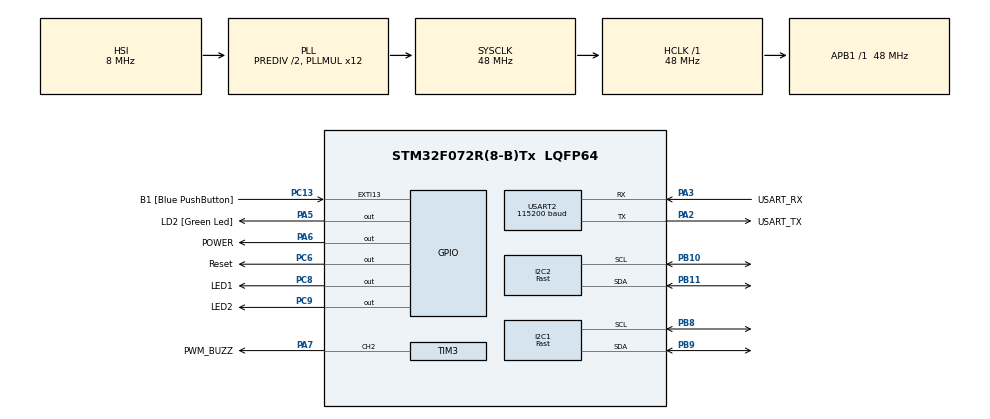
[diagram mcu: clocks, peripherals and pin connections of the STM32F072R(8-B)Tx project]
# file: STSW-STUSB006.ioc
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I2C1.I2C_Speed_Mode=I2C_Fast
I2C1.Timing=0x0000020B
I2C2.I2C_Speed_Mode=I2C_Fast
I2C2.NoStretchMode=I2C_NOSTRETCH_DISABLE
I2C2.Speed=400
I2C2.Timing=0x2010091A
Mcu.Family=STM32F0
Mcu.Name=STM32F072R(8-B)Tx
Mcu.Package=LQFP64
NVIC.EXTI4_15_IRQn=true\:0\:0\:false\:false\:true\:true
NVIC.USART2_IRQn=true\:0\:0\:false\:false\:true\:true
PA13.GPIO_Label=TMS
PA13.Signal=SYS_SWDIO
PA14.GPIO_Label=TCK
PA14.Signal=SYS_SWCLK
PA2.GPIO_Label=USART_TX
PA2.GPIO_Mode=GPIO_MODE_AF_PP
PA2.GPIO_PuPd=GPIO_NOPULL
PA2.GPIO_Speed=GPIO_SPEED_FREQ_LOW
PA2.Mode=Asynchronous
PA2.Signal=USART2_TX
PA3.GPIO_Label=USART_RX
PA3.GPIO_Mode=GPIO_MODE_AF_PP
PA3.GPIO_PuPd=GPIO_NOPULL
PA3.GPIO_Speed=GPIO_SPEED_FREQ_LOW
PA3.Mode=Asynchronous
PA3.Signal=USART2_RX
PA5.GPIO_Label=LD2 [Green Led]
PA5.GPIO_ModeDefaultOutputPP=GPIO_MODE_OUTPUT_PP
PA5.GPIO_PuPd=GPIO_NOPULL
PA5.GPIO_Speed=GPIO_SPEED_FREQ_LOW
PA5.Signal=GPIO_Output
PA6.GPIO_Label=POWER
PA6.Signal=GPIO_Output
PA7.GPIO_Label=PWM_BUZZ
PA7.Signal=S_TIM3_CH2
PB10.Mode=I2C
PB10.Signal=I2C2_SCL
PB11.Mode=I2C
PB11.Signal=I2C2_SDA
PB8.GPIO_FM8=__NULL
PB8.GPIO_PuPdOD=GPIO_PULLUP
PB8.GPIO_Speed=GPIO_SPEED_FREQ_MEDIUM
PB8.Mode=I2C
PB8.Signal=I2C1_SCL
PB9.GPIO_FM9=__NULL
PB9.GPIO_Speed=GPIO_SPEED_FREQ_MEDIUM
PB9.Mode=I2C
PB9.Signal=I2C1_SDA
PC13.GPIO_Label=B1 [Blue PushButton]
PC13.GPIO_ModeDefaultEXTI=GPIO_MODE_IT_FALLING
PC13.GPIO_PuPd=GPIO_NOPULL
PC13.Signal=GPXTI13
PC14-OSC32_IN.Signal=RCC_OSC32_IN
PC15-OSC32_OUT.Signal=RCC_OSC32_OUT
PC6.GPIO_Label=Reset
PC6.Signal=GPIO_Output
PC8.GPIO_Label=LED1
PC8.Signal=GPIO_Output
PC9.GPIO_Label=LED2
PC9.Signal=GPIO_Output
PF0-OSC_IN.Signal=RCC_OSC_IN
PF1-OSC_OUT.Signal=RCC_OSC_OUT
ProjectManager.HeapSize=0x200
ProjectManager.StackSize=0x400
ProjectManager.TargetToolchain=MDK-ARM V5
RCC.AHBFreq_Value=48000000
RCC.APB1Freq_Value=48000000
RCC.APB1TimFreq_Value=48000000
RCC.FLatency-AdvancedSettings=FLASH_LATENCY_1
RCC.HCLKFreq_Value=48000000
RCC.PLLDivider=RCC_PREDIV_DIV2
RCC.PLLMUL=RCC_PLL_MUL12
RCC.SYSCLKFreq_VALUE=48000000
RCC.SYSCLKSource=RCC_SYSCLKSOURCE_PLLCLK
SH.S_TIM3_CH2.0=TIM3_CH2,PWM Generation2 CH2
TIM3.AutoReloadPreload=TIM_AUTORELOAD_PRELOAD_ENABLE
TIM3.Channel-PWM\ Generation2\ CH2=TIM_CHANNEL_2
TIM3.Channel-PWM\ Generation3\ CH3=TIM_CHANNEL_3
TIM3.Channel-PWM\ Generation4\ CH4=TIM_CHANNEL_4
TIM3.OCMode_PWM-PWM\ Generation2\ CH2=TIM_OCMODE_PWM1
TIM3.Period=10
TIM3.Prescaler=48000
TIM3.Pulse-PWM\ Generation2\ CH2=2000
USART2.BaudRate=115200
USART2.VirtualMode-Asynchronous=VM_ASYNC
USART2.WordLength=WORDLENGTH_8B
board=NUCLEO-F072RB

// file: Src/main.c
/**
  ******************************************************************************
  * @file           : main.c
  * @brief          : Main program body
  ******************************************************************************
  ** This notice applies to any and all portions of this file
  * that are not between comment pairs USER CODE BEGIN and
  * USER CODE END. Other portions of this file, whether
  * inserted by the user or by software development tools
  * are owned by their respective copyright owners.
  *
  * COPYRIGHT(c) 2019 STMicroelectronics
  *
  * Redistribution and use in source and binary forms, with or without modification,
  * are permitted provided that the following conditions are met:
  *   1. Redistributions of source code must retain the above copyright notice,
  *      this list of conditions and the following disclaimer.
  *   2. Redistributions in binary form must reproduce the above copyright notice,
  *      this list of conditions and the following disclaimer in the documentation
  *      and/or other materials provided with the distribution.
  *   3. Neither the name of STMicroelectronics nor the names of its contributors
  *      may be used to endorse or promote products derived from this software
  *      without specific prior written permission.
  *
  * THIS SOFTWARE IS PROVIDED BY THE COPYRIGHT HOLDERS AND CONTRIBUTORS "AS IS"
  * AND ANY EXPRESS OR IMPLIED WARRANTIES, INCLUDING, BUT NOT LIMITED TO, THE
  * IMPLIED WARRANTIES OF MERCHANTABILITY AND FITNESS FOR A PARTICULAR PURPOSE ARE
  * DISCLAIMED. IN NO EVENT SHALL THE COPYRIGHT HOLDER OR CONTRIBUTORS BE LIABLE
  * FOR ANY DIRECT, INDIRECT, INCIDENTAL, SPECIAL, EXEMPLARY, OR CONSEQUENTIAL
  * DAMAGES (INCLUDING, BUT NOT LIMITED TO, PROCUREMENT OF SUBSTITUTE GOODS OR
  * SERVICES; LOSS OF USE, DATA, OR PROFITS; OR BUSINESS INTERRUPTION) HOWEVER
  * CAUSED AND ON ANY THEORY OF LIABILITY, WHETHER IN CONTRACT, STRICT LIABILITY,
  * OR TORT (INCLUDING NEGLIGENCE OR OTHERWISE) ARISING IN ANY WAY OUT OF THE USE
  * OF THIS SOFTWARE, EVEN IF ADVISED OF THE POSSIBILITY OF SUCH DAMAGE.
  *
  ******************************************************************************
  */
#include "main.h"
#include "stm32f0xx_hal.h"
#include "i2c.h"
#include "tim.h"
#include "usart.h"
#include "gpio.h"

/* USER CODE BEGIN Includes */
#include "USB_PD_defines.h"
/* USER CODE END Includes */

/* USER CODE BEGIN PV */
/* Private variables ---------------------------------------------------------*/
I2C_HandleTypeDef *hi2c[2];
unsigned int I2cDeviceID_7bit;
unsigned int Address;
unsigned int AddressSize = I2C_MEMADD_SIZE_8BIT;
extern TIM_HandleTypeDef htim3;
//UART_HandleTypeDef huart2;
/* USER CODE END PV */

void SystemClock_Config(void);

/* USER CODE BEGIN PFP */
/* Private function prototypes -----------------------------------------------*/
extern uint8_t nvm_flash(uint8_t Port);
extern uint8_t CUST_EnterWriteMode(uint8_t Port,unsigned char ErasedSector);
extern uint8_t CUST_EnterReadMode(uint8_t Port);
extern uint8_t CUST_ReadSector(uint8_t Port,char SectorNum, unsigned char *SectorData);
extern uint8_t CUST_WriteSector(uint8_t Port,char SectorNum, unsigned char *SectorData);
extern uint8_t CUST_ExitTestMode(uint8_t Port);
FLASHING_STATUS flash_process(void);
volatile uint8_t push_button_Action_Flag[2];
volatile uint8_t temp_count;
/* USER CODE END PFP */

/* USER CODE BEGIN 0 */
extern uint8_t Sector0[8];
extern uint8_t Sector1[8];
extern uint8_t Sector2[8];
extern uint8_t Sector3[8];
extern uint8_t Sector4[8];
FLASHING_STATUS flashing_status;
/* USER CODE END 0 */

int main(void)
{
  /* USER CODE BEGIN 1 */
  uint32_t timeout = 10;
  /* USER CODE END 1 */

  /* MCU Configuration----------------------------------------------------------*/

  /* Reset of all peripherals, Initializes the Flash interface and the Systick. */
  HAL_Init();

  /* Configure the system clock */
  SystemClock_Config();

  /* Initialize all configured peripherals */
  MX_GPIO_Init();
  MX_I2C1_Init();
  MX_I2C2_Init();
  MX_USART2_UART_Init();
  MX_TIM3_Init();
  /* USER CODE BEGIN 2 */
  hi2c[0]= &hi2c1;
  hi2c[1]= &hi2c2;
  I2cDeviceID_7bit = 0x28;
  AddressSize = I2C_MEMADD_SIZE_8BIT;
  // set GPIO for Led activation (red and orange ON)

  flashing_status = Unplug;//Wait_Key_Press;
  push_button_Action_Flag[0] = 0;
  push_button_Action_Flag[1] = 1;
  temp_count = 0;
  /* USER CODE END 2 */

  /* Infinite loop */
  /* USER CODE BEGIN WHILE */
  while (1)
  {
    if ((push_button_Action_Flag[0] == 1  ) && (push_button_Action_Flag[1] == 0))
    {
      push_button_Action_Flag[0] = 0;
      HAL_GPIO_WritePin(POWER_GPIO_Port,POWER_Pin  ,GPIO_PIN_SET);  /* enable power for stusb4761 */
      HAL_Delay(50);                                             /* wait for power rising before any action */
      flashing_status =  flash_process();                          /* start flashing process */
      HAL_Delay(50);                                               /* wait before disabling power */
      HAL_GPIO_WritePin(POWER_GPIO_Port,POWER_Pin  ,GPIO_PIN_RESET); /* disable power of stusb4761*/
    }
    switch(flashing_status)
    {
    case Wait_Key_Press:
      HAL_GPIO_WritePin(LED1_GPIO_Port,LED1_Pin ,GPIO_PIN_RESET);
      HAL_GPIO_WritePin(LED2_GPIO_Port,LED2_Pin ,GPIO_PIN_SET);
      HAL_GPIO_WritePin(LD2_GPIO_Port,LD2_Pin  ,GPIO_PIN_RESET);
      HAL_TIM_PWM_Stop(&htim3, TIM_CHANNEL_2);
      timeout = 100;
      break;

    case Bank_0_Fail:
    case Bank_1_Fail:
    case Bank_2_Fail:
    case Bank_3_Fail:
    case Bank_4_Fail:
    case NVM_ERROR:
    case Bad_Version:
    case NVM_Read_fail:
      {
        HAL_GPIO_WritePin(LED1_GPIO_Port, LED1_Pin ,GPIO_PIN_SET);
        HAL_GPIO_WritePin(LED2_GPIO_Port,LED2_Pin ,GPIO_PIN_RESET);
        HAL_GPIO_WritePin(LD2_GPIO_Port,LD2_Pin ,GPIO_PIN_RESET);
        if (HAL_TIM_PWM_Start(&htim3, TIM_CHANNEL_2) != HAL_OK)
        {
          /* PWM Generation Error */
          Error_Handler();
        }
        timeout = 1000;
        flashing_status = Wait_for_action;
      }
      break;
    case FLASH_OK :
      {
        HAL_GPIO_WritePin(LED1_GPIO_Port, LED1_Pin ,GPIO_PIN_RESET);
        HAL_GPIO_WritePin(LED2_GPIO_Port,LED2_Pin ,GPIO_PIN_RESET);
        HAL_GPIO_WritePin(LD2_GPIO_Port,LD2_Pin ,GPIO_PIN_SET);
        if (HAL_TIM_PWM_Stop(&htim3, TIM_CHANNEL_2) != HAL_OK)
        {
          /* PWM Generation Error */
          Error_Handler();
        }
        timeout = 1000;
        flashing_status = Wait_for_action;
      }
      break;
    case Unplug:
      {
        HAL_GPIO_WritePin(LED1_GPIO_Port, LED1_Pin ,GPIO_PIN_RESET);
        HAL_GPIO_WritePin(LED2_GPIO_Port,LED2_Pin ,GPIO_PIN_SET);
        HAL_GPIO_WritePin(LD2_GPIO_Port,LD2_Pin ,GPIO_PIN_RESET);
        flashing_status = Wait_for_action;
      }
      break;
    default:
      timeout= 100;
    }

    HAL_Delay(timeout);
      timeout = 100;

  /* USER CODE END WHILE */

  }

}

void SystemClock_Config(void)
{

  RCC_OscInitTypeDef RCC_OscInitStruct;
  RCC_ClkInitTypeDef RCC_ClkInitStruct;
  RCC_PeriphCLKInitTypeDef PeriphClkInit;

    /**Initializes the CPU, AHB and APB busses clocks
    */
  RCC_OscInitStruct.OscillatorType = RCC_OSCILLATORTYPE_HSI;
  RCC_OscInitStruct.HSIState = RCC_HSI_ON;
  RCC_OscInitStruct.HSICalibrationValue = 16;
  RCC_OscInitStruct.PLL.PLLState = RCC_PLL_ON;
  RCC_OscInitStruct.PLL.PLLSource = RCC_PLLSOURCE_HSI;
  RCC_OscInitStruct.PLL.PLLMUL = RCC_PLL_MUL12;
  RCC_OscInitStruct.PLL.PREDIV = RCC_PREDIV_DIV2;
  if (HAL_RCC_OscConfig(&RCC_OscInitStruct) != HAL_OK)
  {
    _Error_Handler(__FILE__, __LINE__);
  }

    /**Initializes the CPU, AHB and APB busses clocks
    */
  RCC_ClkInitStruct.ClockType = RCC_CLOCKTYPE_HCLK|RCC_CLOCKTYPE_SYSCLK
                              |RCC_CLOCKTYPE_PCLK1;
  RCC_ClkInitStruct.SYSCLKSource = RCC_SYSCLKSOURCE_PLLCLK;
  RCC_ClkInitStruct.AHBCLKDivider = RCC_SYSCLK_DIV1;
  RCC_ClkInitStruct.APB1CLKDivider = RCC_HCLK_DIV1;

  if (HAL_RCC_ClockConfig(&RCC_ClkInitStruct, FLASH_LATENCY_1) != HAL_OK)
  {
    _Error_Handler(__FILE__, __LINE__);
  }

  PeriphClkInit.PeriphClockSelection = RCC_PERIPHCLK_USART2|RCC_PERIPHCLK_I2C1;
  PeriphClkInit.Usart2ClockSelection = RCC_USART2CLKSOURCE_PCLK1;
  PeriphClkInit.I2c1ClockSelection = RCC_I2C1CLKSOURCE_HSI;
  if (HAL_RCCEx_PeriphCLKConfig(&PeriphClkInit) != HAL_OK)
  {
    _Error_Handler(__FILE__, __LINE__);
  }

    /**Configure the Systick interrupt time
    */
  HAL_SYSTICK_Config(HAL_RCC_GetHCLKFreq()/1000);

    /**Configure the Systick
    */
  HAL_SYSTICK_CLKSourceConfig(SYSTICK_CLKSOURCE_HCLK);

  /* SysTick_IRQn interrupt configuration */
  HAL_NVIC_SetPriority(SysTick_IRQn, 0, 0);
}

/* USER CODE BEGIN 4 */
/**
* @brief  EXTI line detection callback.
* @param  GPIO_Pin Specifies the port pin connected to corresponding EXTI line.
* @retval None
*/
void HAL_GPIO_EXTI_Callback(uint16_t GPIO_Pin)
{

  switch(GPIO_Pin)
  {

  case ( B1_Pin): //Push-button Interrupt
    {
      if ((HAL_GPIO_ReadPin(B1_GPIO_Port,B1_Pin)== GPIO_PIN_RESET)&& HAL_GPIO_ReadPin(UNPLUG_GPIO_Port,UNPLUG_Pin)== GPIO_PIN_RESET)
      {
        flashing_status = Wait_Key_Press;
        push_button_Action_Flag[0] = 0;
        push_button_Action_Flag[1] = 0;
      }
      else
      {
        if ((HAL_GPIO_ReadPin(B1_GPIO_Port,B1_Pin)== GPIO_PIN_RESET)&& HAL_GPIO_ReadPin(UNPLUG_GPIO_Port,UNPLUG_Pin)== GPIO_PIN_SET)
        {
        flashing_status = Unplug;
        push_button_Action_Flag[0] = 0;
        push_button_Action_Flag[1] = 1;
        }

      else
      {      // SELECT HERE WHICH function must be attached to the BLUE push button
      push_button_Action_Flag[0] = 1 ;
      }
    }
    }
    break;
  case ( UNPLUG_Pin): //Unplug-button Interrupt
    {
      if (HAL_GPIO_ReadPin(UNPLUG_GPIO_Port,UNPLUG_Pin)== GPIO_PIN_SET)
      {
        flashing_status = Unplug;
        push_button_Action_Flag[1] = 1;
        push_button_Action_Flag[0] = 0;
      }

      else  {      // SELECT HERE WHICH function must be attached to the unplug push button
      push_button_Action_Flag[1] = 0 ;
      push_button_Action_Flag[0] = 0;
      }
    }
    break;

  }

}

FLASHING_STATUS flash_process(void)
{
  uint8_t Buffer;
  uint8_t j;
  uint8_t Verification_Sector0[8];
  uint8_t Verification_Sector1[8];
  uint8_t Verification_Sector2[8];
  uint8_t Verification_Sector3[8];
  uint8_t Verification_Sector4[8];
  uint8_t Status;

  Status = I2C_Read_USB_PD(0,0,&Buffer,1);
  if (Status != 0)
    return NVM_Read_fail;
  if(Buffer == 0x13 )//
  {
    I2C_Read_USB_PD(0,DEVICE_ID,&Buffer,1);
    if(Buffer == 1) // check device cut 1.1
    {
      if ( nvm_flash(0) == 1)
      {
        printf("STUSB Flashing Failed \r\n"); // Port 0 mean I2C1 For I2C2 change to Port 1
        return NVM_ERROR;
      }
      else
      {
        printf("STUSB Flashing Done\r\n");

      }
    }
    else
    {
      printf("STUSB Flashing Not done : Bad version\r\n");
      return Bad_Version;
    }
    if (CUST_EnterReadMode(0) == 0 )
    {
      if (CUST_ReadSector(0,0, &Verification_Sector0[0]) ==0)

        if (  *(uint64_t *) Verification_Sector0 != *(uint64_t *)Sector0   )
        {
          for ( j = 0 ;j < 8 ; j++)
            if (  Verification_Sector0[j] != Sector0[j])
              printf("NVM verification issue byte %i bank 0\r\n",j);

        } else   printf("NVM verification bank 0 : OK \r\n");
      else
      {
        printf("NVM read bank 0 : failed \r\n");
        return Bank_0_Fail;
      }
      if (CUST_ReadSector(0,1, &Verification_Sector1[0]) ==0)
        if (  *(uint64_t *) Verification_Sector1 != *(uint64_t *)Sector1   )
        {
          for ( j = 0 ;j < 8 ; j++)
            if (  Verification_Sector1[j] != Sector1[j])
              printf("NVM verification issue byte %i bank 1\r\n",j);

        } else   printf("NVM verification bank 1 : OK \r\n");
      else
      {
        printf("NVM read bank 1 : failed \r\n");
        return Bank_1_Fail;
      }
      if (CUST_ReadSector(0,2, &Verification_Sector2[0]) ==0)
        if (  *(uint64_t *) Verification_Sector2 != *(uint64_t *)Sector2   )
        {
          for ( j = 0 ;j < 8 ; j++)
            if (  Verification_Sector2[j] != Sector2[j])
              printf("NVM verification issue byte %i bank 2\r\n",j);
        }  else   printf("NVM verification bank 2 : OK \r\n");
      else
      {
        printf("NVM read bank 2 : failed \r\n");
        return Bank_2_Fail;
      }
      if (CUST_ReadSector(0,3, &Verification_Sector3[0]) ==0)
        if (  *(uint64_t *) Verification_Sector3 != *(uint64_t *)Sector3   )
        {
          for ( j = 0 ;j < 8 ; j++)
            if (  Verification_Sector3[j] != Sector3[j])
              printf("NVM verification issue byte %i bank 3\r\n",j);
        }  else   printf("NVM verification bank 3 : OK \r\n");
      else
      {
        printf("NVM read bank 3 : failed \r\n");
        return Bank_3_Fail;
      }

      if (CUST_ReadSector(0,4, &Verification_Sector4[0]) ==0)
        if (  *(uint64_t *) Verification_Sector4 != *(uint64_t *)Sector4   )
        {
          for ( j = 0 ;j < 8 ; j++)
            if (  Verification_Sector4[j] != Sector4[j])
              printf("NVM verification issue byte %i bank 4\r\n",j);

        }  else   printf("NVM verification bank 4 : OK \r\n");
      else
      {
        printf("NVM read bank 4 : failed \r\n");
        return Bank_4_Fail;
      }
    }
    else
    {
      printf("NVM read initialisation: failed \r\n");
      return NVM_Read_fail;
    }

    HAL_GPIO_WritePin(Reset_GPIO_Port,Reset_Pin,GPIO_PIN_SET);
    return  FLASH_OK;
  }

  return NVM_ERROR;

}

/* USER CODE END 4 */

void _Error_Handler(char *file, int line)
{
  while(1)
  {
  }
}

/************************ (C) COPYRIGHT STMicroelectronics *****END OF FILE****/
